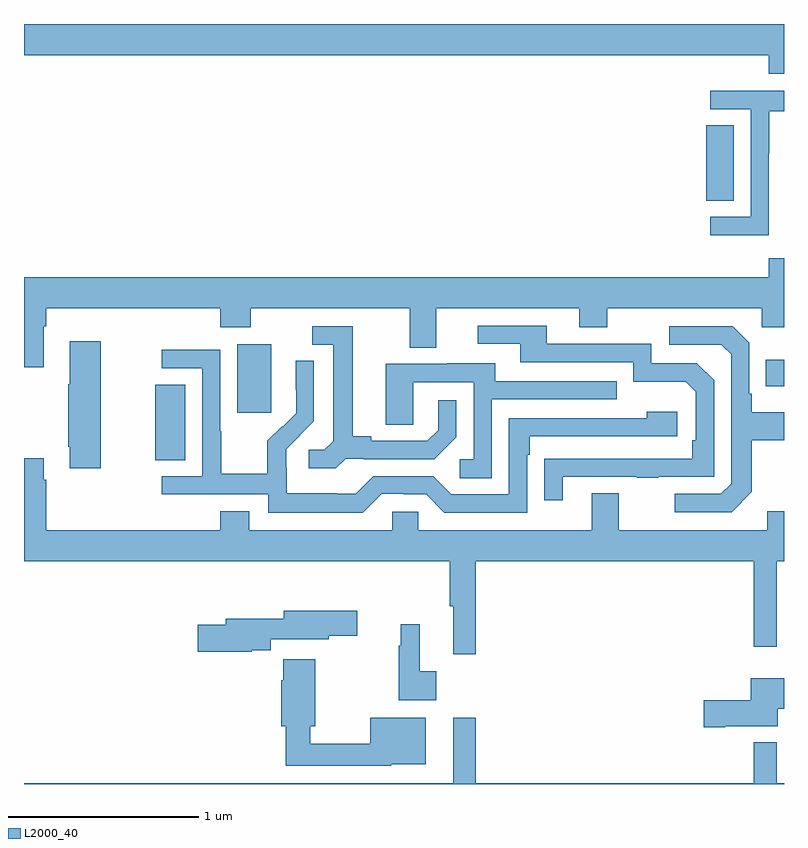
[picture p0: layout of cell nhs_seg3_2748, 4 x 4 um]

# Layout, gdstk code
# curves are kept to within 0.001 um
import gdstk
lib = gdstk.Library(unit=1e-6, precision=1e-09)
def R(c, l, rs):  # rectangles x0, y0, x1, y1
    for r in rs: c.add(gdstk.rectangle(r[:2], r[2:], *l))
def P(c, l, *ps):  # polygons
    for p in ps: c.add(gdstk.Polygon(p, *l))
L2000_40 = (2000, 40)

nhs_seg3_2748 = lib.new_cell('nhs_seg3_2748')
R(nhs_seg3_2748, L2000_40, [(253.69,712.105,253.849,712.502), (254.123,712.353,254.302,712.714), (256.903,712.493,257,712.633), (256.592,713.47,256.735,713.867)])
P(nhs_seg3_2748, L2000_40, [(257,714.4),(253,714.4),(253,714.236),(256.919,714.236),(256.919,714.137),(257,714.137)],
  [(256.92,713.716),(256.923,713.716),(256.923,713.94),(257,713.94),(257,714.048),(256.611,714.048),(256.611,713.952),(256.824,713.952),(256.824,713.385),(256.611,713.385),(256.611,713.287),(256.92,713.287)],
  [(253.105,712.808),(253.118,712.808),(253.118,712.904),(254.033,712.904),(254.033,712.805),(254.193,712.805),(254.193,712.904),(255.029,712.904),(255.029,712.696),(255.169,712.696),(255.169,712.904),(255.923,712.904),(255.923,712.805),(256.071,712.805),(256.071,712.904),(256.884,712.904),(256.884,712.805),(257,712.805),(257,713.167),(256.919,713.167),(256.919,713.068),(253,713.068),(253,712.593),(253.105,712.593)],
  [(255.835,712.017),(256.225,712.017),(256.225,712.012),(256.337,712.012),(256.337,712.017),(256.632,712.017),(256.632,712.524),(256.542,712.614),(256.302,712.614),(256.302,712.716),(255.751,712.716),(255.751,712.812),(255.387,712.812),(255.387,712.716),(255.611,712.716),(255.611,712.62),(256.206,712.62),(256.206,712.517),(256.483,712.517),(256.536,712.464),(256.536,712.21),(256.516,712.21),(256.516,712.113),(255.739,712.112),(255.739,711.894),(255.835,711.894)],
  [(256.831,711.937),(256.831,712.21),(257,712.21),(257,712.357),(256.831,712.357),(256.831,712.453),(256.818,712.453),(256.818,712.722),(256.731,712.809),(256.395,712.809),(256.395,712.713),(256.671,712.713),(256.722,712.662),(256.722,711.981),(256.668,711.927),(256.425,711.927),(256.425,711.831),(256.725,711.831)],
  [(254.694,712.113),(254.788,712.113),(254.788,712.11),(255.16,712.11),(255.276,712.226),(255.276,712.42),(255.179,712.42),(255.179,712.263),(255.122,712.206),(254.827,712.206),(254.827,712.229),(254.731,712.229),(254.731,712.809),(254.517,712.809),(254.517,712.713),(254.627,712.713),(254.627,712.205),(254.58,712.158),(254.499,712.158),(254.499,712.061),(254.642,712.061)],
  [(253.404,712.729),(253.241,712.729),(253.241,712.505),(253.234,712.505),(253.234,712.174),(253.241,712.174),(253.241,712.062),(253.404,712.062)],
  [(254.883,711.927),(254.999,711.927),(254.999,711.924),(255.117,711.924),(255.213,711.828),(255.648,711.828),(255.648,712.133),(255.661,712.133),(255.661,712.23),(256.438,712.23),(256.438,712.36),(256.277,712.36),(256.277,712.326),(255.552,712.326),(255.552,711.924),(255.249,711.924),(255.153,712.02),(254.838,712.02),(254.745,711.927),(254.645,711.927),(254.645,711.931),(254.382,711.931),(254.382,712.065),(254.38,712.065),(254.38,712.162),(254.526,712.31),(254.526,712.628),(254.43,712.628),(254.43,712.474),(254.432,712.474),(254.432,712.352),(254.361,712.281),(254.358,712.284),(254.281,712.207),(254.281,712.033),(254.037,712.033),(254.037,712.256),(254.034,712.256),(254.034,712.686),(253.725,712.686),(253.725,712.587),(253.938,712.587),(253.938,712.02),(253.725,712.02),(253.725,711.924),(254.286,711.924),(254.286,711.827),(254.783,711.827)],
  [(255.462,712.425),(256.121,712.425),(256.121,712.521),(255.481,712.521),(255.481,712.615),(255.227,712.615),(255.227,712.611),(254.903,712.611),(254.903,712.291),(255.048,712.291),(255.048,712.515),(255.366,712.515),(255.366,712.11),(255.294,712.11),(255.294,712.009),(255.462,712.009)],
  [(255.377,711.572),(256.842,711.572),(256.842,711.123),(256.963,711.123),(256.963,711.572),(257,711.572),(257,711.835),(256.913,711.835),(256.913,711.736),(256.129,711.736),(256.129,711.931),(255.989,711.931),(255.989,711.736),(255.075,711.736),(255.075,711.834),(254.937,711.834),(254.937,711.736),(254.185,711.736),(254.185,711.835),(254.033,711.835),(254.033,711.736),(253.118,711.736),(253.118,712.001),(253.105,712.001),(253.105,712.114),(253,712.114),(253,711.572),(255.241,711.572),(255.241,711.336),(255.26,711.336),(255.26,711.084),(255.377,711.084)],
  [(254.198,711.104),(254.298,711.104),(254.298,711.162),(254.605,711.162),(254.605,711.179),(254.755,711.179),(254.755,711.313),(254.366,711.313),(254.366,711.271),(254.063,711.271),(254.063,711.237),(253.914,711.237),(253.914,711.095),(254.198,711.095)],
  [(255.169,710.993),(255.083,710.993),(255.083,711.241),(254.983,711.241),(254.983,711.128),(254.973,711.128),(254.973,710.84),(255.169,710.84)],
  [(254.934,710.504),(255.115,710.504),(255.115,710.749),(254.822,710.749),(254.822,710.612),(254.506,710.612),(254.506,710.705),(254.532,710.705),(254.532,711.057),(254.364,711.057),(254.364,710.945),(254.354,710.945),(254.354,710.705),(254.377,710.705),(254.377,710.496),(254.934,710.496)],
  [(256.69,710.705),(256.966,710.705),(256.966,710.795),(257,710.795),(257,710.956),(256.826,710.956),(256.826,710.84),(256.578,710.84),(256.578,710.698),(256.69,710.698)],
  [(257,710.404),(256.963,710.404),(256.963,710.62),(256.842,710.62),(256.842,710.404),(255.377,710.404),(255.377,710.749),(255.26,710.749),(255.26,710.404),(253,710.404),(253,710.4),(257,710.4)])

lib.write_gds('nhs_seg3_2748.gds')
